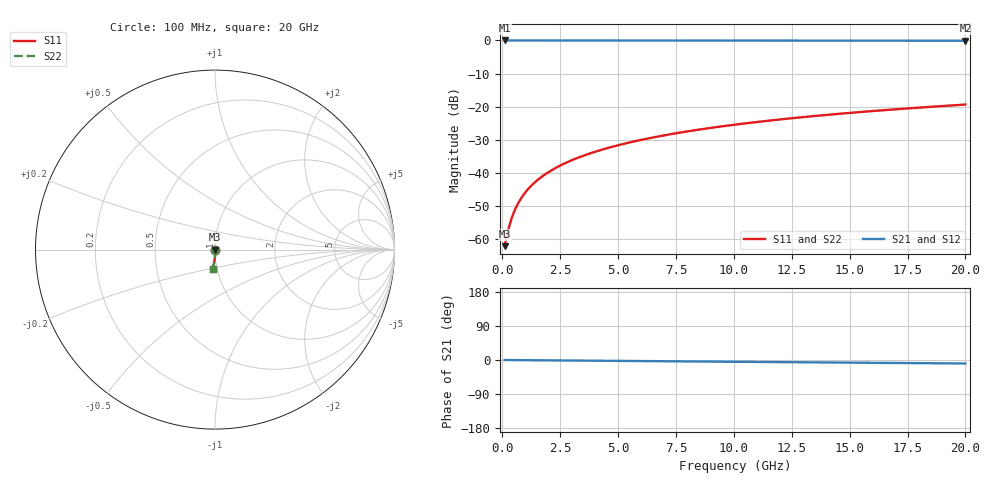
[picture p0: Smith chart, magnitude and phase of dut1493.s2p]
! Touchstone file exported from HFSS 2026.1.0
!  File:  C:/ffzhzh/LocalFiles/Ansys_Project_Files/temp_train_TSV_1493_1783198830_18472.aedt
!  Generated:  05:01:56 AM Jul  5, 2026
!  Design:  TSV
!  Project:  temp_train_TSV_1493_1783198830_18472
! Variables:
!  h_bsmrdl = 2um
!  h_ox = 20um
!  h_rdl = 5um
!  h_sub = 71.87um
!  h_tmrdl = 5um
!  h_tsv = 71.87um
!  h_via = 3um
!  l_bsmrdl = 300um
!  l_sub = 407.36um
!  l_tmrdl = 200um
!  m_sub = 200um
!  pitch = 8.48um
!  r_tsv = 3.68um
!  s_tmrdl = 10um
!  w_bsmrdl = 18um
!  w_sub = 500um
!  w_tmrdl = 12um
!  x_tsv_center1 = 206um
!  x_tsv_center2 = 524um
!  x_tsv_center3 = 736um
!  x_tsv_center4 = 1054um
!  x_tsv_center5 = 1266um
!  x_tsv_center6 = 1584um
# GHz S MA R 50.000000
! Terminal data exported
! Port[1] = TSV1_1_T1
! Port[2] = TSV1_1_T2
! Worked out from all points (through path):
!   200 points, 100 MHz to 20 GHz, reference 50 ohm
!   highest |S21| = -0.01 dB at 100 MHz (marker M1); lowest = -0.1 dB at 20 GHz (marker M2)
!   group delay of S21, straight-line fit = 1.27 ps
!   lowest |S11| = -62.1 dB at 100 MHz (marker M3), VSWR 1.00, Z = 50.1 - j0.0449 ohm
!   |S11| at or under -10 dB: start of sweep to end of sweep
!   |S22| runs from -62.1 to -19.3 dB; largest |S21 - S12| = 5.6e-15
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0.1  0.0007882 -34.7  0.9994 -0.1  0.9994 -0.1  0.0007882 -34.7
! Gamma 0 0 0 0
! Port Impedance 50 0 50 0
0.2  0.001143 -53.1  0.9993 -0.1  0.9993 -0.1  0.001143 -53.1
0.3  0.001583 -62.4  0.9993 -0.2  0.9993 -0.2  0.001583 -62.4
0.4  0.002061 -67.9  0.9992 -0.2  0.9992 -0.2  0.002061 -67.9
0.5  0.002558 -71.5  0.9992 -0.2  0.9992 -0.2  0.002558 -71.5
0.6  0.003066 -74.2  0.9991 -0.3  0.9991 -0.3  0.003066 -74.2
0.8  0.004094 -77.7  0.9991 -0.4  0.9991 -0.4  0.004094 -77.7
1.1  0.00565 -80.8  0.999 -0.5  0.999 -0.5  0.00565 -80.8
1.3  0.006689 -82.2  0.999 -0.6  0.999 -0.6  0.006689 -82.2
1.5  0.00773 -83.2  0.999 -0.7  0.999 -0.7  0.00773 -83.2
1.8  0.009294 -84.3  0.9989 -0.9  0.9989 -0.9  0.009294 -84.3
2.1  0.01086 -85.1  0.9988 -1.0  0.9988 -1.0  0.01086 -85.1
2.7  0.01401 -86.3  0.9987 -1.3  0.9987 -1.3  0.01401 -86.3
3.5  0.01823 -87.3  0.9984 -1.7  0.9984 -1.7  0.01823 -87.3
4.2  0.02196 -87.9  0.9982 -2.0  0.9982 -2.0  0.02196 -87.9
5  0.02624 -88.6  0.9979 -2.4  0.9979 -2.4  0.02624 -88.6
6.8  0.03597 -89.8  0.9972 -3.2  0.9972 -3.2  0.03597 -89.8
8.3  0.04413 -90.7  0.9966 -3.9  0.9966 -3.9  0.04413 -90.7
10.1  0.05396 -91.8  0.9958 -4.7  0.9958 -4.7  0.05396 -91.8
13.4  0.07199 -93.6  0.9941 -6.2  0.9941 -6.2  0.07199 -93.6
16.7  0.08996 -95.4  0.9922 -7.7  0.9922 -7.7  0.08996 -95.4
20  0.1078 -97.0  0.99 -9.2  0.99 -9.2  0.1078 -97.0
